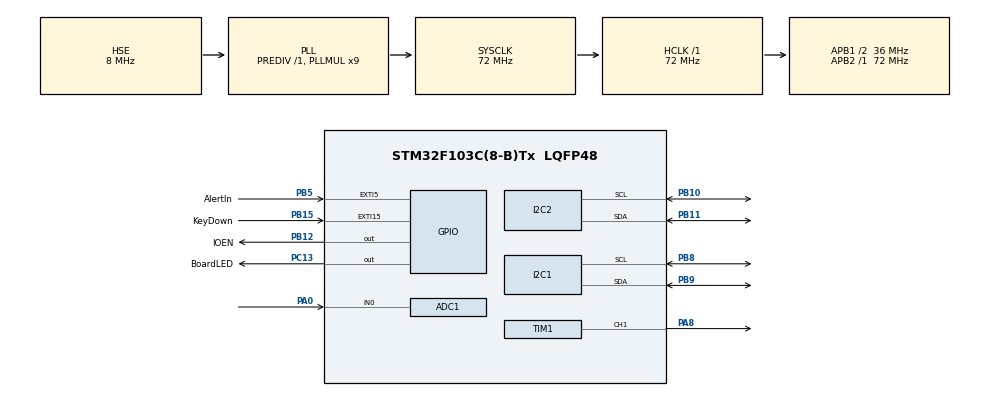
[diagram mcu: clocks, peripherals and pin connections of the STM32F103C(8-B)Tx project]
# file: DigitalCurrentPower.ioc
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ADC1.Channel-0\#ChannelRegularConversion=ADC_CHANNEL_0
ADC1.ContinuousConvMode=ENABLE
ADC1.NbrOfConversion=1
ADC1.NbrOfConversionFlag=1
ADC1.Rank-0\#ChannelRegularConversion=1
ADC1.SamplingTime-0\#ChannelRegularConversion=ADC_SAMPLETIME_41CYCLES_5
ADC1.master=1
Dma.ADC1.4.Direction=DMA_PERIPH_TO_MEMORY
Dma.ADC1.4.Instance=DMA1_Channel1
Dma.ADC1.4.MemDataAlignment=DMA_MDATAALIGN_HALFWORD
Dma.ADC1.4.MemInc=DMA_MINC_ENABLE
Dma.ADC1.4.Mode=DMA_CIRCULAR
Dma.ADC1.4.PeriphDataAlignment=DMA_PDATAALIGN_HALFWORD
Dma.ADC1.4.PeriphInc=DMA_PINC_DISABLE
Dma.ADC1.4.Priority=DMA_PRIORITY_LOW
Dma.I2C1_RX.0.Direction=DMA_PERIPH_TO_MEMORY
Dma.I2C1_RX.0.Instance=DMA1_Channel7
Dma.I2C1_RX.0.MemDataAlignment=DMA_MDATAALIGN_BYTE
Dma.I2C1_RX.0.MemInc=DMA_MINC_ENABLE
Dma.I2C1_RX.0.Mode=DMA_NORMAL
Dma.I2C1_RX.0.PeriphDataAlignment=DMA_PDATAALIGN_BYTE
Dma.I2C1_RX.0.PeriphInc=DMA_PINC_DISABLE
Dma.I2C1_RX.0.Priority=DMA_PRIORITY_LOW
Dma.I2C1_TX.1.Direction=DMA_MEMORY_TO_PERIPH
Dma.I2C1_TX.1.Instance=DMA1_Channel6
Dma.I2C1_TX.1.MemDataAlignment=DMA_MDATAALIGN_BYTE
Dma.I2C1_TX.1.MemInc=DMA_MINC_ENABLE
Dma.I2C1_TX.1.Mode=DMA_NORMAL
Dma.I2C1_TX.1.PeriphDataAlignment=DMA_PDATAALIGN_BYTE
Dma.I2C1_TX.1.PeriphInc=DMA_PINC_DISABLE
Dma.I2C1_TX.1.Priority=DMA_PRIORITY_HIGH
Dma.I2C2_RX.2.Direction=DMA_PERIPH_TO_MEMORY
Dma.I2C2_RX.2.Instance=DMA1_Channel5
Dma.I2C2_RX.2.MemDataAlignment=DMA_MDATAALIGN_BYTE
Dma.I2C2_RX.2.MemInc=DMA_MINC_ENABLE
Dma.I2C2_RX.2.Mode=DMA_NORMAL
Dma.I2C2_RX.2.PeriphDataAlignment=DMA_PDATAALIGN_BYTE
Dma.I2C2_RX.2.PeriphInc=DMA_PINC_DISABLE
Dma.I2C2_RX.2.Priority=DMA_PRIORITY_HIGH
Dma.I2C2_TX.3.Direction=DMA_MEMORY_TO_PERIPH
Dma.I2C2_TX.3.Instance=DMA1_Channel4
Dma.I2C2_TX.3.MemDataAlignment=DMA_MDATAALIGN_BYTE
Dma.I2C2_TX.3.MemInc=DMA_MINC_ENABLE
Dma.I2C2_TX.3.Mode=DMA_NORMAL
Dma.I2C2_TX.3.PeriphDataAlignment=DMA_PDATAALIGN_BYTE
Dma.I2C2_TX.3.PeriphInc=DMA_PINC_DISABLE
Dma.I2C2_TX.3.Priority=DMA_PRIORITY_LOW
Dma.Request0=I2C1_RX
Dma.Request1=I2C1_TX
Dma.Request2=I2C2_RX
Dma.Request3=I2C2_TX
Dma.Request4=ADC1
Mcu.Family=STM32F1
Mcu.Name=STM32F103C(8-B)Tx
Mcu.Package=LQFP48
NVIC.ADC1_2_IRQn=true\:0\:0\:false\:false\:true\:true\:true\:true
NVIC.DMA1_Channel1_IRQn=true\:1\:0\:true\:false\:true\:false\:true\:true
NVIC.DMA1_Channel4_IRQn=true\:1\:0\:true\:false\:true\:false\:true\:true
NVIC.DMA1_Channel5_IRQn=true\:1\:0\:true\:false\:true\:false\:true\:true
NVIC.DMA1_Channel6_IRQn=true\:1\:0\:true\:false\:true\:false\:true\:true
NVIC.DMA1_Channel7_IRQn=true\:1\:0\:true\:false\:true\:false\:true\:true
NVIC.EXTI15_10_IRQn=true\:0\:0\:true\:false\:true\:true\:true\:true
NVIC.EXTI9_5_IRQn=true\:1\:0\:true\:false\:true\:true\:true\:true
NVIC.I2C1_ER_IRQn=true\:0\:0\:true\:false\:true\:true\:true\:true
NVIC.I2C1_EV_IRQn=true\:0\:0\:true\:false\:true\:true\:true\:true
NVIC.I2C2_ER_IRQn=true\:0\:0\:true\:false\:true\:true\:true\:true
NVIC.I2C2_EV_IRQn=true\:0\:0\:true\:false\:true\:true\:true\:true
NVIC.PriorityGroup=NVIC_PRIORITYGROUP_4
PA0-WKUP.Signal=ADCx_IN0
PA13.Mode=Serial_Wire
PA13.Signal=SYS_JTMS-SWDIO
PA14.Mode=Serial_Wire
PA14.Signal=SYS_JTCK-SWCLK
PA8.Signal=S_TIM1_CH1
PB10.Mode=I2C
PB10.Signal=I2C2_SCL
PB11.Mode=I2C
PB11.Signal=I2C2_SDA
PB12.GPIO_Label=IOEN
PB12.Signal=GPIO_Output
PB15.GPIO_Label=KeyDown
PB15.Signal=GPXTI15
PB5.GPIO_Label=AlertIn
PB5.GPIO_ModeDefaultEXTI=GPIO_MODE_IT_FALLING
PB5.Signal=GPXTI5
PB8.Mode=I2C
PB8.Signal=I2C1_SCL
PB9.Mode=I2C
PB9.Signal=I2C1_SDA
PC13-TAMPER-RTC.GPIO_Label=BoardLED
PC13-TAMPER-RTC.Signal=GPIO_Output
PD0-OSC_IN.Mode=HSE-External-Oscillator
PD0-OSC_IN.Signal=RCC_OSC_IN
PD1-OSC_OUT.Mode=HSE-External-Oscillator
PD1-OSC_OUT.Signal=RCC_OSC_OUT
ProjectManager.HeapSize=0x200
ProjectManager.StackSize=0x400
ProjectManager.TargetToolchain=STM32CubeIDE
RCC.ADCPresc=RCC_ADCPCLK2_DIV6
RCC.AHBFreq_Value=72000000
RCC.APB1CLKDivider=RCC_HCLK_DIV2
RCC.APB1Freq_Value=36000000
RCC.APB1TimFreq_Value=72000000
RCC.APB2Freq_Value=72000000
RCC.APB2TimFreq_Value=72000000
RCC.HCLKFreq_Value=72000000
RCC.PLLMUL=RCC_PLL_MUL9
RCC.PLLSourceVirtual=RCC_PLLSOURCE_HSE
RCC.SYSCLKFreq_VALUE=72000000
RCC.SYSCLKSource=RCC_SYSCLKSOURCE_PLLCLK
RCC.USBFreq_Value=72000000
SH.ADCx_IN0.0=ADC1_IN0,IN0
SH.S_TIM1_CH1.0=TIM1_CH1,PWM Generation1 CH1
TIM1.Channel-PWM\ Generation1\ CH1=TIM_CHANNEL_1
TIM1.OCFastMode_PWM-PWM\ Generation1\ CH1=TIM_OCFAST_ENABLE
TIM1.Period=1439
board=custom

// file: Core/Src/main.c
/* USER CODE BEGIN Header */
/**
  ******************************************************************************
  * @file           : main.c
  * @brief          : Main program body
  ******************************************************************************
  * @attention
  *
  * Copyright (c) 2026 STMicroelectronics.
  * All rights reserved.
  *
  * This software is licensed under terms that can be found in the LICENSE file
  * in the root directory of this software component.
  * If no LICENSE file comes with this software, it is provided AS-IS.
  *
  ******************************************************************************
  */
/* USER CODE END Header */
#include "main.h"
#include "adc.h"
#include "dma.h"
#include "i2c.h"
#include "tim.h"
#include "gpio.h"

/* USER CODE BEGIN Includes */
//github@Yirayi
#include "oled.h"
#include "KeyBoard.h"
#include "INA226.h"
#include <string.h>
#include <stdio.h>
#include <stdbool.h>
/* USER CODE END Includes */

void SystemClock_Config(void);

/* USER CODE BEGIN 0 */
//---------------------------------------------OLED-----------------------------------------------------
//typedef enum {
//	noneSelected = 0,
//    beforeDot1 = 1,
//    behindDot1 = 2,
//    behindDot2 = 3
//} IsetSelectedFlags;
//IsetSelectedFlags IFlags = noneSelected;

typedef enum { MODE_CC = 0, MODE_CV } WorkMode;
static WorkMode work_mode = MODE_CC;
float Uin = 0;
char msg1[20] = "";
char msg2[30] = "";
char msg3[20] = "";
char msg4[20] = "";
//----------------------------ADC----------------------------
uint16_t Vinadc[10] = {0};

//INA226电压修正
#define INA226_VOLTAGE_SCALE  (0.9977f)
//---------------------------------keyboard--------------------------------------------------------------
char Isetbuffer[4] = {0,0,0,0};
short Ibuffercounter = 0;
char key = 0;
//--------------------------------------控制--------------------------------------------------------------
#define PID_KP_BASE      50.0f
#define PID_KI_BASE      20.0f
#define PID_KD_BASE       5.0f
#define PID_TS            0.133f
#define PID_DUTY_MIN      0UL
#define PID_DUTY_MAX      1439UL
#define PID_INT_LIMIT    (PID_DUTY_MAX / PID_KI_BASE)
#define PID_D_ALPHA       0.3f
#define DEFAULT_DUTY      0.8f

/* 增益调度参数 */
#define R_REF             5.0f    /* 参考电阻（量程中点），增益基准点 */
#define R_CLAMP_LOW       2.0f    /* 电阻下限：低于此值按0.8Ω计算，防止增益过小 */
#define R_CLAMP_HIGH     10.0f    /* 电阻上限：高于此值按10Ω计算，防止增益过大 */

/* 误差非线性增益参数 */
#define E_BOOST_HALF      0.15f   /* 误差达到此值时Kp增益为基准的1.5倍（半增益点）*/
#define E_BOOST_MAX       1.8f    /* Kp误差增益最大倍数，不超过1.8以防振荡 */

float error = 0;
static float pid_integral  = 0.0f;
static float prev_error    = 0.0f;
static float d_filtered    = 0.0f;

float CVintegral = 0;
float cverror;

void CVPID_Reset(){
	CVintegral = 0;
}
void PID_Reset(void)
{
    pid_integral = 0.0f;
    prev_error   = 0.0f;
    d_filtered   = 0.0f;
}

float Iset = 1.0;
static float pwm_duty = PID_DUTY_MAX;
//-------------------------------------控制函数-------------------------------------------------------------
static float clampf(float v, float lo, float hi)
{
    if (v < lo) return lo;
    if (v > hi) return hi;
    return v;
}
static void Set_PWM_Duty(uint32_t duty)
{
    if (duty > PID_DUTY_MAX) duty = PID_DUTY_MAX;
    __HAL_TIM_SET_COMPARE(&htim1, TIM_CHANNEL_1, duty);
    pwm_duty = duty;
}
/**
 * @brief  获取当前负载电阻估计值（带保护）
 * @return 钳位后的电阻值（Ω），用于增益调度
 */
static float Get_R_Estimate(void)
{
    float I = ina226_data.current_A;
    float V = ina226_data.voltage_V*INA226_VOLTAGE_SCALE;

    /* 电流过小时电阻计算不可信，返回参考值 */
    if (I < 0.05f) return R_REF;

    float R = V / I;
    return clampf(R, R_CLAMP_LOW, R_CLAMP_HIGH);
}
/**
 * @brief  自适应PID更新
 *
 * 增益调度策略：
 *   gain_R   = R_est / R_REF        线性调度，随负载等比缩放所有系数
 *   gain_E   = 平滑非线性函数         大误差时适度提升Kp，加快初始响应
 *
 * 仅Kp叠加误差增益；Ki/Kd只做电阻调度，避免积分饱和与微分噪声
 */
void PID_Update(float current_A)
{
    /* ---------- 误差 ---------- */
    float err = Iset - current_A;
    error = err;  /* 供OLED调试显示 */

    /* ---------- 电阻增益调度 ---------- */
    float R_est    = Get_R_Estimate();
    float gain_R   = R_est / R_REF;   /* 2Ω→0.4x，5Ω→1.0x，10Ω→2.0x */

    /* ---------- 误差非线性增益（仅作用于Kp）----------
     *
     * 采用平滑饱和函数：
     *   gain_E = 1 + (|e| / (|e| + E_BOOST_HALF)) × (E_BOOST_MAX - 1)
     *
     * |e|=0         → gain_E = 1.0  （无增强，稳态精确）
     * |e|=E_BOOST_HALF → gain_E = 1.4  （半增益点）
     * |e|→∞        → gain_E = E_BOOST_MAX = 1.8（上限，防振荡）
     */
    float abs_err  = fabsf(err);
    float gain_E   = 1.0f
                   + (abs_err / (abs_err + E_BOOST_HALF))
                   * (E_BOOST_MAX - 1.0f);

    /* ---------- 动态系数 ---------- */
    float Kp_dyn = PID_KP_BASE * gain_R * gain_E;  /* 电阻 + 误差双重调度 */
    float Ki_dyn = PID_KI_BASE * gain_R;            /* 仅电阻调度 */
    float Kd_dyn = PID_KD_BASE * gain_R;            /* 仅电阻调度 */

    /* ---------- 积分项（限幅防饱和，限幅随增益动态调整）---------- */
    float int_limit = (float)PID_DUTY_MAX / Ki_dyn;
    pid_integral   += clampf(err * PID_TS,-0.005,0.005);
    pid_integral    = clampf(pid_integral, -int_limit, int_limit);

    /* ---------- 微分项（差分 + 一阶低通滤波）---------- */
    float d_raw  = (err - prev_error) / PID_TS;
    d_filtered   = PID_D_ALPHA * d_raw
                 + (1.0f - PID_D_ALPHA) * d_filtered;
    prev_error   = err;

    /* ---------- 输出合成 ---------- */
    float output = Kp_dyn * err
                 + Kd_dyn * d_filtered;

    float new_duty = (float)pwm_duty - output - Ki_dyn * pid_integral;
    Set_PWM_Duty((uint32_t)clampf(new_duty,
                                   (float)PID_DUTY_MIN,
                                   (float)PID_DUTY_MAX));
}
static void CV_Update(float voltage_V)
{
    cverror = 18.0f - voltage_V;
    CVintegral += clampf(cverror * 0.133f,-0.005,0.005);
    CVintegral = clampf(CVintegral, -200.0f, 200.0f);
    float new_duty = (int32_t)pwm_duty - (float)(cverror * 10.0f);
    Set_PWM_Duty((uint32_t)clampf((float)new_duty- CVintegral*5,(float)PID_DUTY_MIN,(float)PID_DUTY_MAX));
}
void OledRefreshData(){
//	sprintf(msg1,"%.2fA",Iset);
//	sprintf(msg2,"Io:%.2fA Uo:%.2fV",ina226_data.current_A,ina226_data.voltage_V);
//	sprintf(msg3,"Rload:%.2f Ohm",ina226_data.resistance_Ohm);
//	sprintf(msg4,"Ui:%.2fV Mode:%s",Uin,work_mode ==MODE_CC? "CC":"CV");
//	OLED_NewFrame();
//	OLED_PrintString(0, 0 , "Iset:", &font16x16, OLED_COLOR_NORMAL);
//	OLED_PrintASCIIChar(40, 0 , msg1[0], &afont16x8, IFlags == beforeDot1?OLED_COLOR_REVERSED:OLED_COLOR_NORMAL);
//	OLED_PrintASCIIChar(55, 0 , msg1[2], &afont16x8, IFlags == behindDot1?OLED_COLOR_REVERSED:OLED_COLOR_NORMAL);
//	OLED_PrintASCIIChar(65, 0 , msg1[3], &afont16x8, IFlags == behindDot2?OLED_COLOR_REVERSED:OLED_COLOR_NORMAL);
//	OLED_PrintASCIIChar(48, 0 , '.'    , &afont16x8, OLED_COLOR_NORMAL);
	sprintf(msg1,"Iset%.2fA",Iset);
	sprintf(msg2,"Io:%.3fA Uo:%.2fV",ina226_data.current_A,ina226_data.voltage_V*INA226_VOLTAGE_SCALE);
	sprintf(msg3,"Rload:%.2f Ohm",ina226_data.resistance_Ohm);
	sprintf(msg4,"Ui:%.2fV Mode:%s",Vinadc[0] * 6 *3.3f / 4095.0f,work_mode ==MODE_CC? "CC":"CV");
	OLED_NewFrame();
	OLED_PrintString(0, 0 , msg1, &font16x16, OLED_COLOR_NORMAL);

	OLED_PrintASCIIChar(80, 0 , Isetbuffer[0]=='/0'?'0':Isetbuffer[0], &afont16x8,Ibuffercounter==0?OLED_COLOR_REVERSED:OLED_COLOR_NORMAL);
	OLED_PrintASCIIChar(95, 0 , Isetbuffer[1]=='/0'?'0':Isetbuffer[1], &afont16x8, Ibuffercounter==1?OLED_COLOR_REVERSED:OLED_COLOR_NORMAL);
	OLED_PrintASCIIChar(110, 0 , Isetbuffer[2]=='/0'?'0':Isetbuffer[2], &afont16x8, Ibuffercounter==2?OLED_COLOR_REVERSED:OLED_COLOR_NORMAL);
	OLED_PrintASCIIChar(88, 0 , '.'    , &afont16x8, OLED_COLOR_NORMAL);

	OLED_PrintString(0, 20, msg2, &mediumfont, OLED_COLOR_NORMAL);
	OLED_PrintString(0, 35, msg3, &mediumfont, OLED_COLOR_NORMAL);
	OLED_PrintString(0, 50, msg4, &mediumfont, OLED_COLOR_NORMAL);
}
void OledKeyBoardDebug(){
	sprintf(msg1,"Iset%.2fA",Iset);

	OLED_NewFrame();
	OLED_PrintString(0, 0 , msg1, &font16x16, OLED_COLOR_NORMAL);
	OLED_PrintASCIIChar(40, 40 , Isetbuffer[0], &afont16x8,OLED_COLOR_NORMAL);
	OLED_PrintASCIIChar(55, 40 , Isetbuffer[1], &afont16x8, OLED_COLOR_NORMAL);
	OLED_PrintASCIIChar(65, 40 , Isetbuffer[2], &afont16x8, OLED_COLOR_NORMAL);
	OLED_PrintASCIIChar(48, 40 , '.'    , &afont16x8, OLED_COLOR_NORMAL);

}
void OledDebugRefreshData(){
	static int running = 0;
	int compare = __HAL_TIM_GET_COMPARE(&htim1, TIM_CHANNEL_1);

	sprintf(msg1,"Iset:%.2fA  %.2f",Iset,cverror);
	sprintf(msg2,"Io:%.3fA Uo:%.2fV",ina226_data.current_A,ina226_data.voltage_V*INA226_VOLTAGE_SCALE);
	sprintf(msg3,"compare:%d",compare);
	sprintf(msg4,"%.3f",CVintegral);
	OLED_NewFrame();
	OLED_PrintString(0, 0 , msg1, &mediumfont, OLED_COLOR_NORMAL);
	OLED_PrintString(0, 15 , msg2, &mediumfont, OLED_COLOR_NORMAL);
	OLED_PrintString(0, 30 , msg3, &mediumfont, OLED_COLOR_NORMAL);
	OLED_PrintString(0, 45 , HAL_GPIO_ReadPin(IOEN_GPIO_Port, IOEN_Pin)==GPIO_PIN_SET?"ON":"OF", &mediumfont, OLED_COLOR_NORMAL);
	OLED_PrintString(50, 45 , msg4, &mediumfont, OLED_COLOR_NORMAL);

	running++;
	if(running==10){
		running =0;
	}
}
/* USER CODE END 0 */

int main(void)
{

  /* MCU Configuration--------------------------------------------------------*/

  /* Reset of all peripherals, Initializes the Flash interface and the Systick. */
  HAL_Init();

  /* Configure the system clock */
  SystemClock_Config();

  /* Initialize all configured peripherals */
  MX_GPIO_Init();
  MX_DMA_Init();
  MX_I2C1_Init();
  MX_I2C2_Init();
  MX_TIM1_Init();
  MX_ADC1_Init();
  /* USER CODE BEGIN 2 */
    //github@Yirayi
  	//PWM输出
	HAL_TIM_PWM_Start(&htim1, TIM_CHANNEL_1);
	__HAL_TIM_SET_COMPARE(&htim1, TIM_CHANNEL_1, DEFAULT_DUTY*PID_DUTY_MAX);

	//其余外设初始化
	HAL_Delay(50);

	INA226_Init(&hi2c1);

	OLED_Init();

	HAL_StatusTypeDef KBstatus;
	KBstatus = Keyboard_Init(&hi2c2);
	initIset(Isetbuffer,&Ibuffercounter);
	uint32_t last_poll_tick = 0;
	//ADC
	HAL_ADCEx_Calibration_Start(&hadc1);
	HAL_ADC_Start_DMA(&hadc1, (uint32_t*)&Vinadc, 10);
	//---------------------------------------------------------------
  /* USER CODE END 2 */

  /* Infinite loop */
  while (1)
  {

    /* USER CODE BEGIN 3 */
	if (ina226_state == INA226_STATE_IDLE){
		INA226_StartRead();
	}
	if (ina226_data.data_ready){
		ina226_data.data_ready = 0;

		float I = ina226_data.current_A;
		float V = ina226_data.voltage_V*INA226_VOLTAGE_SCALE;

		if (HAL_GPIO_ReadPin(IOEN_GPIO_Port, IOEN_Pin)==GPIO_PIN_SET){
			if(work_mode == MODE_CC){
				if (V >= 18.0f&&ina226_data.resistance_Ohm*Iset>=17.9){
					work_mode = MODE_CV;
					CVPID_Reset();
					continue;
				}
				PID_Update(I);
			}
			else{
				if(ina226_data.resistance_Ohm*Iset<17.9){
					work_mode = MODE_CC;
					PID_Reset();
					continue;
				}
				CV_Update(V);
			}
//			/* 判断工作模式 */
//			if (V >= 18.0f){
//				work_mode = MODE_CV;
//				/* CV模式：维持18V */
//				CV_Update(V);
//				/* CV模式下积分清零，防止切回CC时积分饱和 */
//				pid_integral = 0.0f;
//			}
//			else
//			{
//				work_mode = MODE_CC;
//				/* CC模式：PID调节电流至Iset */
//				PID_Update(I);
//			}
		}
	}

	if (HAL_GetTick() - last_poll_tick >= KEYBOARD_POLL_INTERVAL){
		last_poll_tick = HAL_GetTick();

		/* -------- 方式 A：获取单个按键（最常用） -------- */
		char keybuffer = Keyboard_GetKey();
		if(key != keybuffer){
			key=keybuffer;//一次按下只取一次值
			if (key != '\0'){
				storeIset(key,&Ibuffercounter,Isetbuffer);//将键盘输入存入buffer

			}
		}
	}
	getIset(Isetbuffer,&Iset,&Ibuffercounter);//在确认后，将buffer中缓存的数据转换为数值

	//OledKeyBoardDebug();
	OledRefreshData();
	//OledDebugRefreshData();
	OLED_ShowFrame();
	//HAL_GPIO_TogglePin(BoardLED_GPIO_Port, BoardLED_Pin);
	HAL_Delay(20);

  }
  /* USER CODE END 3 */
}

void SystemClock_Config(void)
{
  RCC_OscInitTypeDef RCC_OscInitStruct = {0};
  RCC_ClkInitTypeDef RCC_ClkInitStruct = {0};
  RCC_PeriphCLKInitTypeDef PeriphClkInit = {0};

  /** Initializes the RCC Oscillators according to the specified parameters
  * in the RCC_OscInitTypeDef structure.
  */
  RCC_OscInitStruct.OscillatorType = RCC_OSCILLATORTYPE_HSE;
  RCC_OscInitStruct.HSEState = RCC_HSE_ON;
  RCC_OscInitStruct.HSEPredivValue = RCC_HSE_PREDIV_DIV1;
  RCC_OscInitStruct.HSIState = RCC_HSI_ON;
  RCC_OscInitStruct.PLL.PLLState = RCC_PLL_ON;
  RCC_OscInitStruct.PLL.PLLSource = RCC_PLLSOURCE_HSE;
  RCC_OscInitStruct.PLL.PLLMUL = RCC_PLL_MUL9;
  if (HAL_RCC_OscConfig(&RCC_OscInitStruct) != HAL_OK)
  {
    Error_Handler();
  }

  /** Initializes the CPU, AHB and APB buses clocks
  */
  RCC_ClkInitStruct.ClockType = RCC_CLOCKTYPE_HCLK|RCC_CLOCKTYPE_SYSCLK
                              |RCC_CLOCKTYPE_PCLK1|RCC_CLOCKTYPE_PCLK2;
  RCC_ClkInitStruct.SYSCLKSource = RCC_SYSCLKSOURCE_PLLCLK;
  RCC_ClkInitStruct.AHBCLKDivider = RCC_SYSCLK_DIV1;
  RCC_ClkInitStruct.APB1CLKDivider = RCC_HCLK_DIV2;
  RCC_ClkInitStruct.APB2CLKDivider = RCC_HCLK_DIV1;

  if (HAL_RCC_ClockConfig(&RCC_ClkInitStruct, FLASH_LATENCY_2) != HAL_OK)
  {
    Error_Handler();
  }
  PeriphClkInit.PeriphClockSelection = RCC_PERIPHCLK_ADC;
  PeriphClkInit.AdcClockSelection = RCC_ADCPCLK2_DIV6;
  if (HAL_RCCEx_PeriphCLKConfig(&PeriphClkInit) != HAL_OK)
  {
    Error_Handler();
  }
}

/* USER CODE BEGIN 4 */
void HAL_I2C_MemRxCpltCallback(I2C_HandleTypeDef *hi2c)
{
    /* 转发给INA226驱动（内部会判断句柄是否匹配） */
    INA226_MemRxCallback(hi2c);
}
void HAL_GPIO_EXTI_Callback(uint16_t GPIO_Pin)
{
    if (GPIO_Pin == AlertIn_Pin)  /* PB0 = Alert引脚 */
    {
    	if (ina226_state == INA226_STATE_IDLE)
		{
			INA226_StartRead();
		}
    }
    else if (GPIO_Pin == KeyDown_Pin)
    {
    	pwm_duty = PID_DUTY_MAX;
    	PID_Reset();
		HAL_GPIO_TogglePin(IOEN_GPIO_Port, IOEN_Pin);
    }
}
/* USER CODE END 4 */

void Error_Handler(void)
{
  __disable_irq();
  while (1)
  {
  }
}
